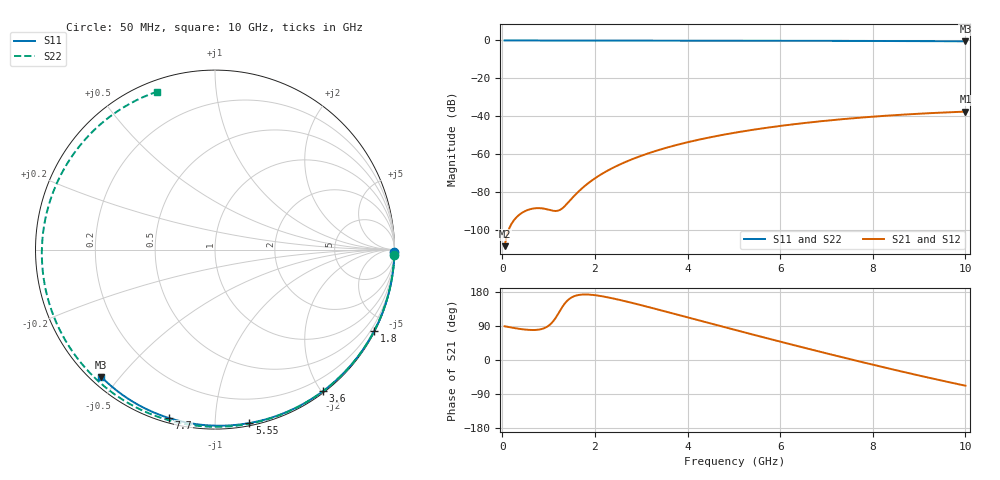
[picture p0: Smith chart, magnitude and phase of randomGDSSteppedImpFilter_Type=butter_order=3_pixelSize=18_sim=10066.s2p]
! freq	dB(S11)	phase(S11)	dB(S12)	phase(S12)
!  dB(S21)	phase(S21)	dB(S22)	phase(S22)
!S-par simulation data
#  GHz  S  DB  R 50
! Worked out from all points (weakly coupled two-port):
!   200 points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, 50 MHz to 10 GHz, reference 50 ohm
!   highest |S21| = -37.52 dB at 10 GHz (marker M1); lowest = -108.4 dB at 50 MHz (marker M2)
!   lowest |S11| = -0.4 dB at 10 GHz (marker M3), VSWR 39.59, Z = 1.52 - j22.4 ohm
!   |S11| at or under -10 dB: nowhere
!   |S22| runs from -0.6 to 0.0 dB; largest |S21 - S12| = 0
!   S11 on the Smith chart (normalised r, x): 50 MHz: open; 1.8 GHz: 0.04, -4.17; 3.6 GHz: 0.02, -2.02; 5.55 GHz: 0.02, -1.22; 7.7 GHz: 0.02, -0.76; 10 GHz: 0.03, -0.45
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0.05  -0.00 -0.8  -108.45 89.1  -108.45 89.1  -0.00 -1.6
0.4  -0.01 -6.1  -91.26 81.7  -91.26 81.7  -0.02 -12.5
0.8  -0.02 -12.1  -88.40 80.4  -88.40 80.4  -0.03 -24.8
1.6  -0.03 -24.0  -80.75 170.3  -80.75 170.3  -0.06 -48.7
1.65  -0.03 -24.8  -79.56 171.6  -79.56 171.6  -0.06 -50.2
1.75  -0.03 -26.2  -77.34 172.9  -77.34 172.9  -0.07 -53.1
1.8  -0.03 -27.0  -76.32 172.9  -76.32 172.9  -0.07 -54.5
2.1  -0.04 -31.4  -71.10 169.3  -71.10 169.3  -0.08 -63.1
2.45  -0.05 -36.5  -66.41 160.9  -66.41 160.9  -0.09 -72.7
2.9  -0.06 -42.9  -61.70 147.7  -61.70 147.7  -0.10 -84.8
3.4  -0.07 -50.0  -57.59 132.0  -57.59 132.0  -0.12 -97.6
3.6  -0.07 -52.8  -56.18 125.5  -56.18 125.5  -0.13 -102.6
4.3  -0.09 -62.3  -52.01 102.8  -52.01 102.8  -0.15 -119.4
5.05  -0.11 -72.3  -48.51 78.6  -48.51 78.6  -0.19 -136.6
5.55  -0.13 -78.8  -46.58 62.6  -46.58 62.6  -0.22 -147.7
6.15  -0.15 -86.4  -44.60 43.8  -44.60 43.8  -0.25 -160.8
6.7  -0.18 -93.2  -43.05 26.7  -43.05 26.7  -0.29 -172.7
7.2  -0.21 -99.3  -41.82 11.5  -41.82 11.5  -0.33 176.4
7.7  -0.24 -105.3  -40.75 -3.5  -40.75 -3.5  -0.36 165.4
8.35  -0.29 -112.9  -39.58 -22.5  -39.58 -22.5  -0.42 150.7
9.15  -0.35 -122.1  -38.43 -45.1  -38.43 -45.1  -0.49 131.7
10  -0.44 -131.8  -37.52 -67.8  -37.52 -67.8  -0.56 110.0
